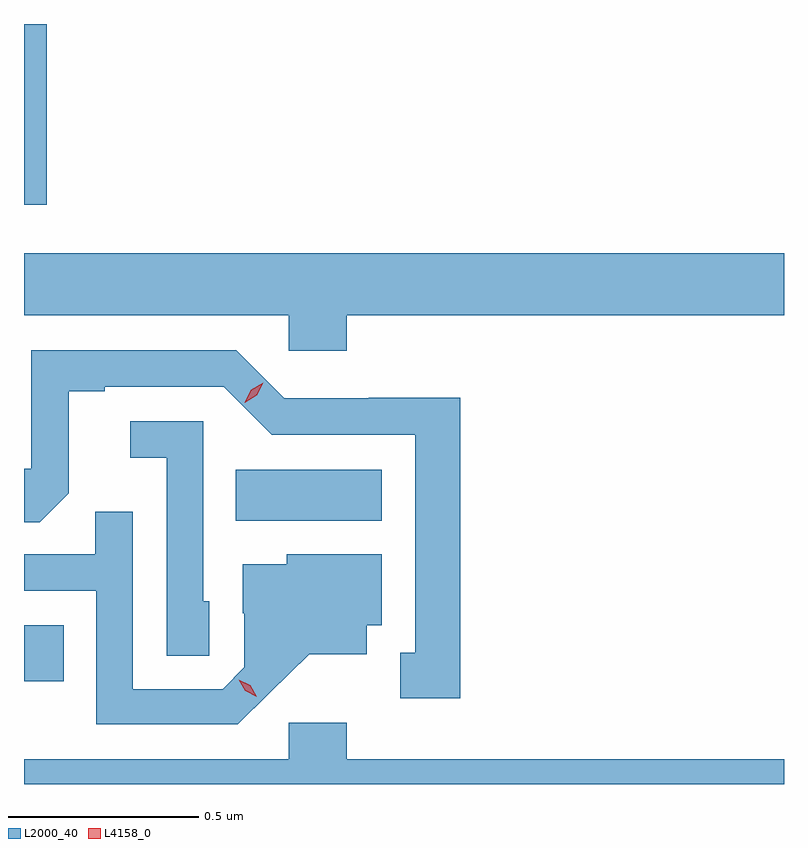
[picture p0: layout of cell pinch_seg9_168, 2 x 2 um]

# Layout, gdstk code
import gdstk
lib = gdstk.Library(unit=1e-6, precision=1e-09)
def R(c, l, rs):  # rectangles x0, y0, x1, y1
    for r in rs: c.add(gdstk.rectangle(r[:2], r[2:], *l))
def P(c, l, *ps):  # polygons
    for p in ps: c.add(gdstk.Polygon(p, *l))
L2000_40 = (2000, 40)
L4158_0 = (4158, 0)

pinch_seg9_168 = lib.new_cell('pinch_seg9_168')
R(pinch_seg9_168, L2000_40, [(647.633,1175.478,647.738,1175.625), (648.19,1175.9,648.574,1176.034), (647.633,1176.732,647.693,1177.207)])
P(pinch_seg9_168, L2000_40, [(648.482,1176.44),(649.633,1176.44),(649.633,1176.604),(647.633,1176.604),(647.633,1176.44),(648.33,1176.44),(648.33,1176.347),(648.482,1176.347)],
  [(648.781,1176.224),(648.54,1176.224),(648.54,1176.222),(648.318,1176.222),(648.192,1176.348),(647.652,1176.348),(647.652,1176.036),(647.633,1176.036),(647.633,1175.896),(647.675,1175.896),(647.751,1175.972),(647.751,1176.24),(647.845,1176.24),(647.845,1176.252),(648.159,1176.252),(648.285,1176.126),(648.662,1176.126),(648.662,1175.553),(648.623,1175.553),(648.623,1175.433),(648.781,1175.433)],
  [(648.12,1175.688),(648.105,1175.688),(648.105,1176.162),(647.913,1176.162),(647.913,1176.065),(648.009,1176.065),(648.009,1175.545),(648.12,1175.545)],
  [(648.28,1175.447),(648.383,1175.549),(648.535,1175.549),(648.535,1175.625),(648.574,1175.625),(648.574,1175.812),(648.324,1175.812),(648.324,1175.785),(648.209,1175.785),(648.209,1175.656),(648.213,1175.656),(648.213,1175.514),(648.156,1175.457),(647.919,1175.457),(647.919,1175.924),(647.821,1175.924),(647.821,1175.811),(647.633,1175.811),(647.633,1175.715),(647.823,1175.715),(647.823,1175.364),(648.196,1175.364)],
  [(649.633,1175.272),(648.482,1175.272),(648.482,1175.368),(648.33,1175.368),(648.33,1175.272),(647.633,1175.272),(647.633,1175.207),(649.633,1175.207)])
P(pinch_seg9_168, L4158_0, [(648.214,1176.21),(648.214,1176.211),(648.231,1176.244),(648.262,1176.263),(648.263,1176.263),(648.263,1176.263),(648.246,1176.23),(648.214,1176.21)],
  [(648.245,1175.437),(648.215,1175.452),(648.198,1175.482),(648.198,1175.482),(648.198,1175.482),(648.228,1175.467),(648.245,1175.437),(648.245,1175.437)])

lib.write_gds('pinch_seg9_168.gds')
